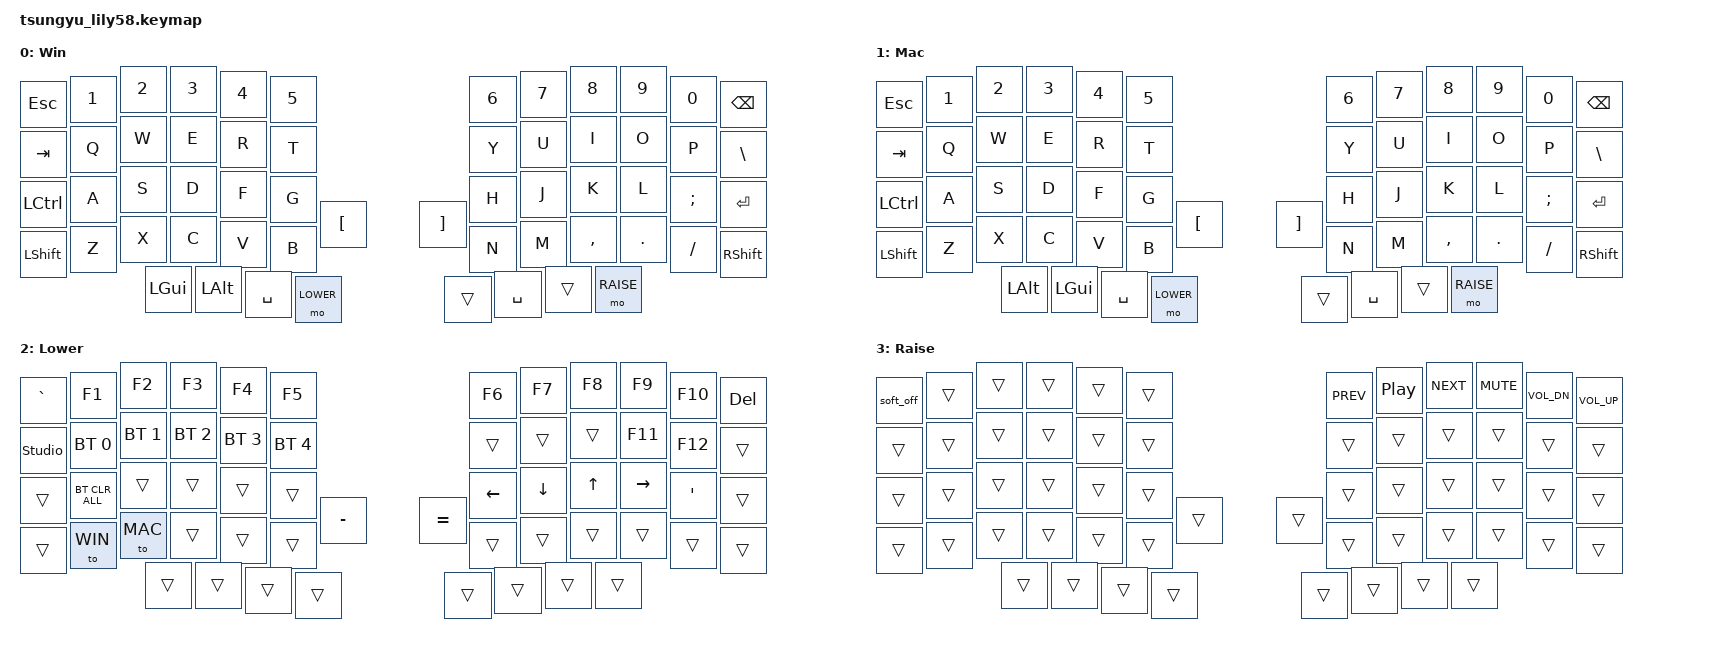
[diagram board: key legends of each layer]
// This file was generated from a template. Edit it to match your keyboard.
// See https://zmk.dev/docs/development/hardware-integration/new-shield for more instructions.

#include <behaviors.dtsi>
#include <dt-bindings/zmk/keys.h>
#include <dt-bindings/zmk/bt.h>

#define WIN 0
#define MAC 1
#define LOWER 2
#define RAISE 3

/ {
    // Define a default keymap here.
    // See https://zmk.dev/docs/development/hardware-integration/new-shield#default-keymap.
    keymap {
        compatible = "zmk,keymap";

        win_layer {
            display-name = "Win";
            bindings = <
                &kp ESC    &kp N1    &kp N2   &kp N3    &kp N4    &kp N5             &kp N6   &kp N7    &kp N8     &kp N9   &kp N0    &kp BACKSPACE
                &kp TAB    &kp Q     &kp W    &kp E     &kp R     &kp T              &kp Y    &kp U     &kp I      &kp O    &kp P     &kp BSLH
                &kp LCTRL  &kp A     &kp S    &kp D     &kp F     &kp G              &kp H    &kp J     &kp K      &kp L    &kp SEMI  &kp ENTER
                &kp LSHIFT &kp Z     &kp X    &kp C     &kp V     &kp B              &kp N    &kp M     &kp COMMA  &kp DOT  &kp SLASH &kp RSHIFT
                           &kp LGUI  &kp LALT &kp SPACE &mo LOWER &kp LBKT           &kp RBKT &trans    &kp SPACE  &trans   &mo RAISE
            >;
        };

        mac_layer {
            display-name = "Mac";
            bindings = <
                &kp ESC    &kp N1    &kp N2   &kp N3    &kp N4    &kp N5             &kp N6   &kp N7    &kp N8     &kp N9   &kp N0    &kp BACKSPACE
                &kp TAB    &kp Q     &kp W    &kp E     &kp R     &kp T              &kp Y    &kp U     &kp I      &kp O    &kp P     &kp BSLH
                &kp LCTRL  &kp A     &kp S    &kp D     &kp F     &kp G              &kp H    &kp J     &kp K      &kp L    &kp SEMI  &kp ENTER
                &kp LSHIFT &kp Z     &kp X    &kp C     &kp V     &kp B              &kp N    &kp M     &kp COMMA  &kp DOT  &kp SLASH &kp RSHIFT
                           &kp LALT &kp LGUI  &kp SPACE &mo LOWER &kp LBKT           &kp RBKT &trans    &kp SPACE  &trans   &mo RAISE
            >;
        };

        lower_layer {
            display-name = "Lower";
            bindings = <
                &kp GRAVE      &kp F1         &kp F2       &kp F3       &kp F4       &kp F5           &kp F6    &kp F7   &kp F8 &kp F9    &kp F10        &kp DEL
                &studio_unlock &bt BT_SEL 0   &bt BT_SEL 1 &bt BT_SEL 2 &bt BT_SEL 3 &bt BT_SEL 4     &trans    &trans   &trans &kp F11   &kp F12        &trans
                &trans         &bt BT_CLR_ALL &trans       &trans       &trans       &trans           &kp LEFT  &kp DOWN &kp UP &kp RIGHT &kp APOSTROPHE &trans
                &trans         &to WIN        &to MAC      &trans       &trans       &trans           &trans    &trans   &trans &trans    &trans         &trans
                               &trans         &trans       &trans       &trans       &kp MINUS        &kp EQUAL &trans   &trans &trans    &trans
            >;
        };

        raise_layer {
            display-name = "Raise";
            bindings = <
                &soft_off &trans &trans &trans &trans &trans     &kp C_PREV &kp C_PP &kp C_NEXT &kp C_MUTE &kp C_VOL_DN &kp C_VOL_UP
                &trans    &trans &trans &trans &trans &trans     &trans     &trans   &trans     &trans     &trans       &trans
                &trans    &trans &trans &trans &trans &trans     &trans     &trans   &trans     &trans     &trans       &trans
                &trans    &trans &trans &trans &trans &trans     &trans     &trans   &trans     &trans     &trans       &trans
                          &trans &trans &trans &trans &trans     &trans     &trans   &trans     &trans     &trans
            >;
        };
    };
};
